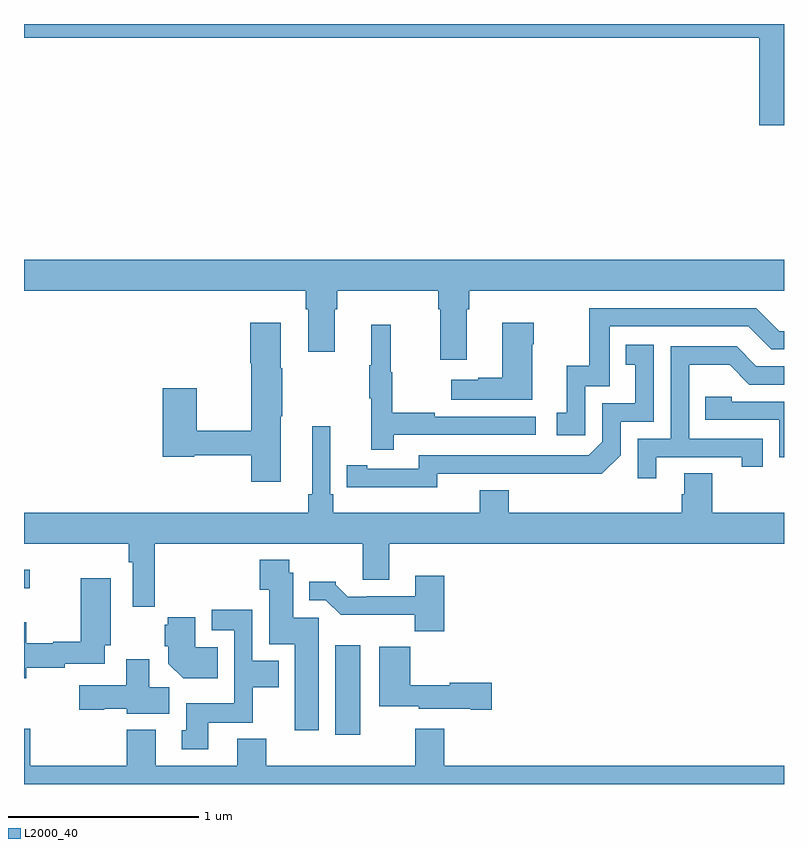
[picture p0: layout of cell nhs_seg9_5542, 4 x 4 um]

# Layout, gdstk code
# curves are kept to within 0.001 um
import gdstk
lib = gdstk.Library(unit=1e-6, precision=1e-09)
def R(c, l, rs):  # rectangles x0, y0, x1, y1
    for r in rs: c.add(gdstk.rectangle(r[:2], r[2:], *l))
def P(c, l, *ps):  # polygons
    for p in ps: c.add(gdstk.Polygon(p, *l))
L2000_40 = (2000, 40)

nhs_seg9_5542 = lib.new_cell('nhs_seg9_5542')
R(nhs_seg9_5542, L2000_40, [(434.639,1184.76,434.77,1185.229), (433,1185.531,433.03,1185.628)])
P(nhs_seg9_5542, L2000_40, [(437,1188.5),(433,1188.5),(433,1188.428),(436.871,1188.428),(436.871,1187.967),(437,1187.967)],
  [(435.331,1187),(435.344,1187),(435.344,1187.096),(437,1187.096),(437,1187.26),(433,1187.26),(433,1187.096),(434.483,1187.096),(434.483,1187),(434.495,1187),(434.495,1186.776),(434.635,1186.776),(434.635,1187),(434.648,1187),(434.648,1187.096),(435.179,1187.096),(435.179,1187),(435.191,1187),(435.191,1186.734),(435.331,1186.734)],
  [(435.954,1186.593),(436.083,1186.593),(436.083,1186.908),(436.812,1186.908),(436.932,1186.788),(437,1186.788),(437,1186.884),(436.974,1186.884),(436.854,1187.004),(435.975,1187.004),(435.975,1186.702),(435.857,1186.702),(435.857,1186.455),(435.804,1186.455),(435.804,1186.335),(435.954,1186.335)],
  [(435.676,1186.814),(435.684,1186.814),(435.684,1186.927),(435.518,1186.927),(435.518,1186.637),(435.392,1186.637),(435.392,1186.627),(435.249,1186.627),(435.249,1186.523),(435.676,1186.523)],
  [(434.35,1186.435),(434.358,1186.435),(434.358,1186.688),(434.35,1186.688),(434.35,1186.927),(434.192,1186.927),(434.192,1186.714),(434.197,1186.714),(434.197,1186.358),(433.908,1186.358),(433.908,1186.582),(433.73,1186.582),(433.73,1186.222),(433.896,1186.222),(433.896,1186.23),(434.197,1186.23),(434.197,1186.092),(434.35,1186.092)],
  [(434.945,1186.338),(435.694,1186.338),(435.694,1186.434),(435.161,1186.434),(435.161,1186.454),(434.938,1186.454),(434.938,1186.668),(434.93,1186.668),(434.93,1186.918),(434.828,1186.918),(434.828,1186.705),(434.817,1186.705),(434.817,1186.531),(434.828,1186.531),(434.828,1186.26),(434.945,1186.26)],
  [(435.174,1186.134),(436.042,1186.133),(436.14,1186.23),(436.14,1186.407),(436.314,1186.407),(436.314,1186.813),(436.168,1186.813),(436.168,1186.707),(436.217,1186.707),(436.217,1186.503),(436.044,1186.503),(436.044,1186.302),(435.972,1186.23),(435.078,1186.23),(435.078,1186.158),(434.806,1186.158),(434.806,1186.178),(434.698,1186.178),(434.698,1186.062),(435.174,1186.061)],
  [(436.327,1186.221),(436.778,1186.221),(436.778,1186.17),(436.889,1186.17),(436.889,1186.317),(436.5,1186.317),(436.5,1186.706),(436.714,1186.706),(436.818,1186.602),(437,1186.602),(437,1186.698),(436.855,1186.698),(436.75,1186.803),(436.404,1186.803),(436.404,1186.317),(436.23,1186.317),(436.23,1186.11),(436.327,1186.11)],
  [(437,1186.512),(436.725,1186.512),(436.725,1186.539),(436.585,1186.539),(436.585,1186.416),(436.974,1186.416),(436.974,1186.221),(437,1186.221)],
  [(433,1185.764),(433.552,1185.764),(433.552,1185.668),(433.572,1185.668),(433.572,1185.432),(433.688,1185.432),(433.688,1185.764),(434.783,1185.764),(434.783,1185.574),(434.923,1185.574),(434.923,1185.764),(437,1185.764),(437,1185.928),(436.623,1185.928),(436.623,1186.136),(436.475,1186.136),(436.475,1186.026),(436.463,1186.026),(436.463,1185.928),(435.551,1185.928),(435.551,1186.045),(435.398,1186.045),(435.398,1185.928),(434.627,1185.928),(434.627,1186.024),(434.613,1186.024),(434.613,1186.384),(434.516,1186.384),(434.516,1186.024),(434.497,1186.024),(434.497,1185.928),(433,1185.928)],
  [(434.551,1185.375),(434.416,1185.375),(434.416,1185.612),(434.397,1185.612),(434.397,1185.679),(434.24,1185.679),(434.24,1185.523),(434.291,1185.523),(434.291,1185.236),(434.426,1185.236),(434.426,1184.784),(434.551,1184.784)],
  [(435.212,1185.595),(435.059,1185.595),(435.059,1185.489),(434.803,1185.489),(434.803,1185.486),(434.704,1185.486),(434.64,1185.55),(434.64,1185.565),(434.501,1185.565),(434.501,1185.468),(434.589,1185.468),(434.668,1185.39),(435.057,1185.39),(435.057,1185.305),(435.212,1185.305)],
  [(433.012,1185.112),(433.215,1185.112),(433.215,1185.132),(433.426,1185.132),(433.426,1185.23),(433.456,1185.23),(433.456,1185.583),(433.298,1185.583),(433.298,1185.248),(433.155,1185.248),(433.155,1185.241),(433.012,1185.241),(433.012,1185.352),(433,1185.352),(433,1185.056),(433.012,1185.056)],
  [(433.969,1184.822),(434.205,1184.822),(434.205,1185.008),(434.341,1185.008),(434.341,1185.148),(434.202,1185.148),(434.202,1185.418),(433.989,1185.418),(433.989,1185.309),(434.106,1185.309),(434.106,1184.926),(433.853,1184.926),(433.853,1184.784),(433.829,1184.784),(433.829,1184.682),(433.969,1184.682)],
  [(434.021,1185.22),(433.9,1185.22),(433.9,1185.378),(433.757,1185.378),(433.757,1185.339),(433.742,1185.339),(433.742,1185.225),(433.76,1185.225),(433.76,1185.134),(433.838,1185.056),(434.021,1185.056)],
  [(435.463,1185.032),(435.24,1185.032),(435.24,1185.019),(435.032,1185.019),(435.032,1185.223),(434.87,1185.223),(434.87,1184.909),(435.078,1184.909),(435.078,1184.897),(435.35,1184.897),(435.35,1184.89),(435.463,1184.89)],
  [(433.765,1185.008),(433.66,1185.008),(433.66,1185.157),(433.538,1185.157),(433.538,1185.019),(433.29,1185.019),(433.29,1184.89),(433.422,1184.89),(433.422,1184.897),(433.542,1184.897),(433.542,1184.87),(433.765,1184.87)],
  [(437,1184.596),(435.212,1184.596),(435.212,1184.791),(435.059,1184.791),(435.059,1184.596),(434.276,1184.596),(434.276,1184.737),(434.123,1184.737),(434.123,1184.596),(433.693,1184.596),(433.693,1184.785),(433.541,1184.785),(433.541,1184.596),(433.034,1184.596),(433.034,1184.791),(433,1184.791),(433,1184.5),(437,1184.5)])

lib.write_gds('nhs_seg9_5542.gds')
